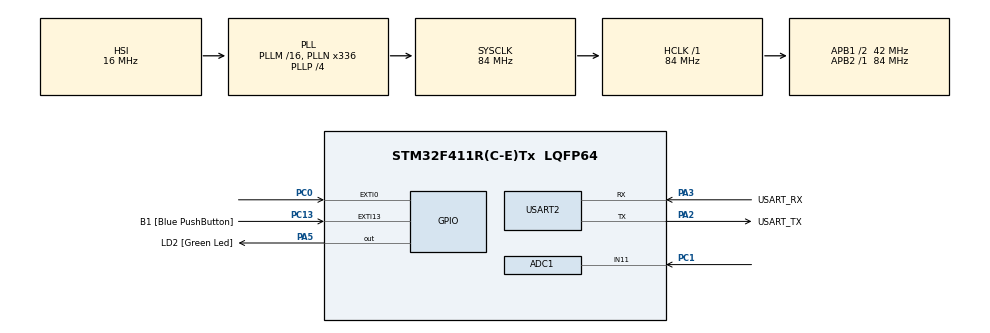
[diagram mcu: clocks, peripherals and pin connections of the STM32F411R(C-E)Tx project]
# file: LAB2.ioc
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ADC1.Channel-0\#ChannelRegularConversion=ADC_CHANNEL_11
ADC1.Channel-1\#ChannelRegularConversion=ADC_CHANNEL_TEMPSENSOR
ADC1.ContinuousConvMode=ENABLE
ADC1.DMAContinuousRequests=ENABLE
ADC1.NbrOfConversion=2
ADC1.NbrOfConversionFlag=1
ADC1.Rank-0\#ChannelRegularConversion=1
ADC1.Rank-1\#ChannelRegularConversion=2
ADC1.Resolution=ADC_RESOLUTION_12B
ADC1.SamplingTime-0\#ChannelRegularConversion=ADC_SAMPLETIME_56CYCLES
ADC1.SamplingTime-1\#ChannelRegularConversion=ADC_SAMPLETIME_56CYCLES
ADC1.ScanConvMode=ENABLE
ADC1.master=1
Dma.ADC1.0.Direction=DMA_PERIPH_TO_MEMORY
Dma.ADC1.0.FIFOMode=DMA_FIFOMODE_DISABLE
Dma.ADC1.0.Instance=DMA2_Stream0
Dma.ADC1.0.MemDataAlignment=DMA_MDATAALIGN_HALFWORD
Dma.ADC1.0.MemInc=DMA_MINC_ENABLE
Dma.ADC1.0.Mode=DMA_CIRCULAR
Dma.ADC1.0.PeriphDataAlignment=DMA_PDATAALIGN_HALFWORD
Dma.ADC1.0.PeriphInc=DMA_PINC_DISABLE
Dma.ADC1.0.Priority=DMA_PRIORITY_LOW
Dma.Request0=ADC1
Mcu.Family=STM32F4
Mcu.Name=STM32F411R(C-E)Tx
Mcu.Package=LQFP64
NVIC.ADC_IRQn=true\:0\:0\:false\:false\:true\:true\:true\:true
NVIC.DMA2_Stream0_IRQn=true\:0\:0\:false\:false\:true\:false\:true\:true
NVIC.EXTI0_IRQn=true\:0\:0\:false\:false\:true\:true\:true\:true
NVIC.EXTI15_10_IRQn=true\:0\:0\:false\:false\:true\:true\:true\:true
NVIC.PriorityGroup=NVIC_PRIORITYGROUP_0
PA13.GPIO_Label=TMS
PA13.Mode=Serial_Wire
PA13.Signal=SYS_JTMS-SWDIO
PA14.GPIO_Label=TCK
PA14.Mode=Serial_Wire
PA14.Signal=SYS_JTCK-SWCLK
PA2.GPIO_Label=USART_TX
PA2.Mode=Asynchronous
PA2.Signal=USART2_TX
PA3.GPIO_Label=USART_RX
PA3.Mode=Asynchronous
PA3.Signal=USART2_RX
PA5.GPIO_Label=LD2 [Green Led]
PA5.Signal=GPIO_Output
PB3.GPIO_Label=SWO
PB3.Signal=SYS_JTDO-SWO
PC0.Signal=GPXTI0
PC1.Signal=ADCx_IN11
PC13-ANTI_TAMP.GPIO_Label=B1 [Blue PushButton]
PC13-ANTI_TAMP.GPIO_ModeDefaultEXTI=GPIO_MODE_IT_FALLING
PC13-ANTI_TAMP.Signal=GPXTI13
PC14-OSC32_IN.Mode=LSE-External-Oscillator
PC14-OSC32_IN.Signal=RCC_OSC32_IN
PC15-OSC32_OUT.Mode=LSE-External-Oscillator
PC15-OSC32_OUT.Signal=RCC_OSC32_OUT
PH0\ -\ OSC_IN.Mode=HSE-External-Clock-Source
PH0\ -\ OSC_IN.Signal=RCC_OSC_IN
PH1\ -\ OSC_OUT.Mode=HSE-External-Clock-Source
PH1\ -\ OSC_OUT.Signal=RCC_OSC_OUT
ProjectManager.HeapSize=0x200
ProjectManager.StackSize=0x400
ProjectManager.TargetToolchain=STM32CubeIDE
RCC.48MHZClocksFreq_Value=84000000
RCC.AHBFreq_Value=84000000
RCC.APB1CLKDivider=RCC_HCLK_DIV2
RCC.APB1Freq_Value=42000000
RCC.APB1TimFreq_Value=84000000
RCC.APB2Freq_Value=84000000
RCC.APB2TimFreq_Value=84000000
RCC.CortexFreq_Value=84000000
RCC.FLatency-AdvancedSettings=FLASH_LATENCY_2
RCC.HCLKFreq_Value=84000000
RCC.HSE_VALUE=8000000
RCC.HSI_VALUE=16000000
RCC.PLLN=336
RCC.PLLP=RCC_PLLP_DIV4
RCC.SYSCLKFreq_VALUE=84000000
RCC.SYSCLKSource=RCC_SYSCLKSOURCE_PLLCLK
RCC.VCOOutputFreq_Value=336000000
SH.ADCx_IN11.0=ADC1_IN11,IN11
USART2.VirtualMode=VM_ASYNC
VP_ADC1_TempSens_Input.Mode=IN-TempSens
board=NUCLEO-F411RE

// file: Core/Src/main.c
/* USER CODE BEGIN Header */
/**
 ******************************************************************************
 * @file           : main.c
 * @brief          : Main program body
 ******************************************************************************
 * @attention
 *
 * Copyright (c) 2023 STMicroelectronics.
 * All rights reserved.
 *
 * This software is licensed under terms that can be found in the LICENSE file
 * in the root directory of this software component.
 * If no LICENSE file comes with this software, it is provided AS-IS.
 *
 ******************************************************************************
 */
/* USER CODE END Header */
#include "main.h"

ADC_HandleTypeDef hadc1;
DMA_HandleTypeDef hdma_adc1;

UART_HandleTypeDef huart2;

/* USER CODE BEGIN PV */
uint32_t Voltage = 0;
float Temp = 0;
uint16_t adcRawData[20];
uint32_t sum;
/* USER CODE END PV */

void SystemClock_Config(void);
static void MX_GPIO_Init(void);
static void MX_DMA_Init(void);
static void MX_USART2_UART_Init(void);
static void MX_ADC1_Init(void);
/* USER CODE BEGIN PFP */
void ReadADC();
/* USER CODE END PFP */

int main(void)
{

  /* MCU Configuration--------------------------------------------------------*/

  /* Reset of all peripherals, Initializes the Flash interface and the Systick. */
  HAL_Init();

  /* Configure the system clock */
  SystemClock_Config();

  /* Initialize all configured peripherals */
  MX_GPIO_Init();
  MX_DMA_Init();
  MX_USART2_UART_Init();
  MX_ADC1_Init();
  /* USER CODE BEGIN 2 */
	HAL_ADC_Start_DMA(&hadc1, adcRawData, 20);
  /* USER CODE END 2 */

  /* Infinite loop */
	while (1) {

    /* USER CODE BEGIN 3 */
		static uint32_t timestamp = 0;
		if (HAL_GetTick() >= timestamp) {
			timestamp = HAL_GetTick() + 1000;
			ReadADC();
		}
	}
  /* USER CODE END 3 */
}

void SystemClock_Config(void)
{
  RCC_OscInitTypeDef RCC_OscInitStruct = {0};
  RCC_ClkInitTypeDef RCC_ClkInitStruct = {0};

  /** Configure the main internal regulator output voltage
  */
  __HAL_RCC_PWR_CLK_ENABLE();
  __HAL_PWR_VOLTAGESCALING_CONFIG(PWR_REGULATOR_VOLTAGE_SCALE1);

  /** Initializes the RCC Oscillators according to the specified parameters
  * in the RCC_OscInitTypeDef structure.
  */
  RCC_OscInitStruct.OscillatorType = RCC_OSCILLATORTYPE_HSI;
  RCC_OscInitStruct.HSIState = RCC_HSI_ON;
  RCC_OscInitStruct.HSICalibrationValue = RCC_HSICALIBRATION_DEFAULT;
  RCC_OscInitStruct.PLL.PLLState = RCC_PLL_ON;
  RCC_OscInitStruct.PLL.PLLSource = RCC_PLLSOURCE_HSI;
  RCC_OscInitStruct.PLL.PLLM = 16;
  RCC_OscInitStruct.PLL.PLLN = 336;
  RCC_OscInitStruct.PLL.PLLP = RCC_PLLP_DIV4;
  RCC_OscInitStruct.PLL.PLLQ = 4;
  if (HAL_RCC_OscConfig(&RCC_OscInitStruct) != HAL_OK)
  {
    Error_Handler();
  }

  /** Initializes the CPU, AHB and APB buses clocks
  */
  RCC_ClkInitStruct.ClockType = RCC_CLOCKTYPE_HCLK|RCC_CLOCKTYPE_SYSCLK
                              |RCC_CLOCKTYPE_PCLK1|RCC_CLOCKTYPE_PCLK2;
  RCC_ClkInitStruct.SYSCLKSource = RCC_SYSCLKSOURCE_PLLCLK;
  RCC_ClkInitStruct.AHBCLKDivider = RCC_SYSCLK_DIV1;
  RCC_ClkInitStruct.APB1CLKDivider = RCC_HCLK_DIV2;
  RCC_ClkInitStruct.APB2CLKDivider = RCC_HCLK_DIV1;

  if (HAL_RCC_ClockConfig(&RCC_ClkInitStruct, FLASH_LATENCY_2) != HAL_OK)
  {
    Error_Handler();
  }
}

static void MX_ADC1_Init(void)
{

  ADC_ChannelConfTypeDef sConfig = {0};

  /** Configure the global features of the ADC (Clock, Resolution, Data Alignment and number of conversion)
  */
  hadc1.Instance = ADC1;
  hadc1.Init.ClockPrescaler = ADC_CLOCK_SYNC_PCLK_DIV4;
  hadc1.Init.Resolution = ADC_RESOLUTION_12B;
  hadc1.Init.ScanConvMode = ENABLE;
  hadc1.Init.ContinuousConvMode = ENABLE;
  hadc1.Init.DiscontinuousConvMode = DISABLE;
  hadc1.Init.ExternalTrigConvEdge = ADC_EXTERNALTRIGCONVEDGE_NONE;
  hadc1.Init.ExternalTrigConv = ADC_SOFTWARE_START;
  hadc1.Init.DataAlign = ADC_DATAALIGN_RIGHT;
  hadc1.Init.NbrOfConversion = 2;
  hadc1.Init.DMAContinuousRequests = ENABLE;
  hadc1.Init.EOCSelection = ADC_EOC_SINGLE_CONV;
  if (HAL_ADC_Init(&hadc1) != HAL_OK)
  {
    Error_Handler();
  }

  /** Configure for the selected ADC regular channel its corresponding rank in the sequencer and its sample time.
  */
  sConfig.Channel = ADC_CHANNEL_11;
  sConfig.Rank = 1;
  sConfig.SamplingTime = ADC_SAMPLETIME_56CYCLES;
  if (HAL_ADC_ConfigChannel(&hadc1, &sConfig) != HAL_OK)
  {
    Error_Handler();
  }

  /** Configure for the selected ADC regular channel its corresponding rank in the sequencer and its sample time.
  */
  sConfig.Channel = ADC_CHANNEL_TEMPSENSOR;
  sConfig.Rank = 2;
  if (HAL_ADC_ConfigChannel(&hadc1, &sConfig) != HAL_OK)
  {
    Error_Handler();
  }

}

static void MX_USART2_UART_Init(void)
{

  huart2.Instance = USART2;
  huart2.Init.BaudRate = 115200;
  huart2.Init.WordLength = UART_WORDLENGTH_8B;
  huart2.Init.StopBits = UART_STOPBITS_1;
  huart2.Init.Parity = UART_PARITY_NONE;
  huart2.Init.Mode = UART_MODE_TX_RX;
  huart2.Init.HwFlowCtl = UART_HWCONTROL_NONE;
  huart2.Init.OverSampling = UART_OVERSAMPLING_16;
  if (HAL_UART_Init(&huart2) != HAL_OK)
  {
    Error_Handler();
  }

}

static void MX_DMA_Init(void)
{

  /* DMA controller clock enable */
  __HAL_RCC_DMA2_CLK_ENABLE();

  /* DMA interrupt init */
  /* DMA2_Stream0_IRQn interrupt configuration */
  HAL_NVIC_SetPriority(DMA2_Stream0_IRQn, 0, 0);
  HAL_NVIC_EnableIRQ(DMA2_Stream0_IRQn);

}

static void MX_GPIO_Init(void)
{
  GPIO_InitTypeDef GPIO_InitStruct = {0};

  /* GPIO Ports Clock Enable */
  __HAL_RCC_GPIOC_CLK_ENABLE();
  __HAL_RCC_GPIOH_CLK_ENABLE();
  __HAL_RCC_GPIOA_CLK_ENABLE();
  __HAL_RCC_GPIOB_CLK_ENABLE();

  /*Configure GPIO pin Output Level */
  HAL_GPIO_WritePin(LD2_GPIO_Port, LD2_Pin, GPIO_PIN_RESET);

  /*Configure GPIO pin : B1_Pin */
  GPIO_InitStruct.Pin = B1_Pin;
  GPIO_InitStruct.Mode = GPIO_MODE_IT_FALLING;
  GPIO_InitStruct.Pull = GPIO_NOPULL;
  HAL_GPIO_Init(B1_GPIO_Port, &GPIO_InitStruct);

  /*Configure GPIO pin : PC0 */
  GPIO_InitStruct.Pin = GPIO_PIN_0;
  GPIO_InitStruct.Mode = GPIO_MODE_IT_RISING;
  GPIO_InitStruct.Pull = GPIO_NOPULL;
  HAL_GPIO_Init(GPIOC, &GPIO_InitStruct);

  /*Configure GPIO pin : LD2_Pin */
  GPIO_InitStruct.Pin = LD2_Pin;
  GPIO_InitStruct.Mode = GPIO_MODE_OUTPUT_PP;
  GPIO_InitStruct.Pull = GPIO_NOPULL;
  GPIO_InitStruct.Speed = GPIO_SPEED_FREQ_LOW;
  HAL_GPIO_Init(LD2_GPIO_Port, &GPIO_InitStruct);

  /* EXTI interrupt init*/
  HAL_NVIC_SetPriority(EXTI0_IRQn, 0, 0);
  HAL_NVIC_EnableIRQ(EXTI0_IRQn);

  HAL_NVIC_SetPriority(EXTI15_10_IRQn, 0, 0);
  HAL_NVIC_EnableIRQ(EXTI15_10_IRQn);

}

/* USER CODE BEGIN 4 */
void ReadADC() {
	register i = 0;
	//static sum;
	sum = 0;
	for (i = 0; i < 19; i = i + 2) {
		sum = adcRawData[i] + sum;
	}
	Voltage = (((((float) sum / 10) / 4095) * 3.3) * 1000) * 2;
	Temp = (((0.76 - ((float) adcRawData[1] / 4095) * 3.3) / 2.5) + 25.0)
			+ 273.15;
}
/* USER CODE END 4 */

void Error_Handler(void)
{
	__disable_irq();
	while (1) {
	}
}
